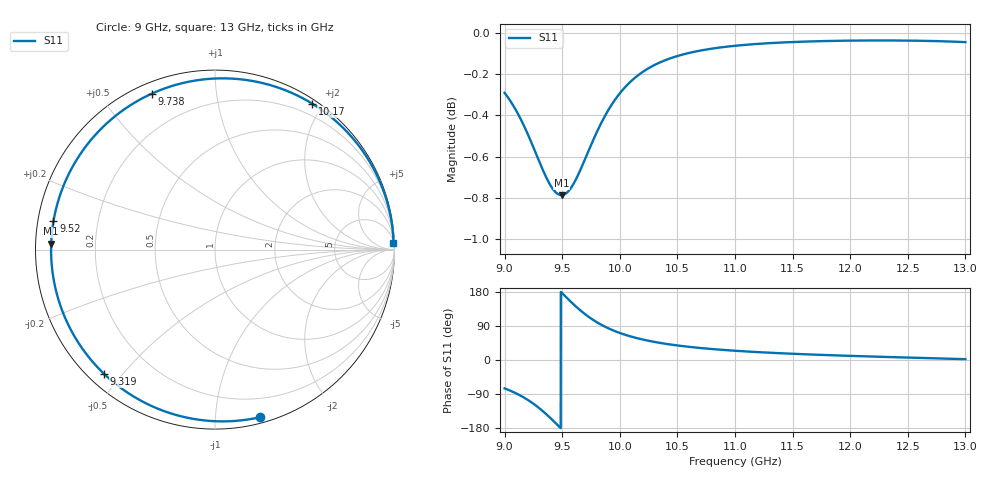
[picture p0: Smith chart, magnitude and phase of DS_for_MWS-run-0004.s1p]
! TOUCHSTONE file generated by CST DESIGN STUDIO
! Date and time: Tue Feb  4 13:32:31 2025
! Project name: C:\Work\MatlabApps\UnitCellOptimizationMatlab\CST\unitcell.cst
! Tree item: Tasks\Sweep1\SPara1\S-Parameters
! Header version: 2024
! Port assignment regex: !\s*Touchstone port\s*([0-9]+)\s*=\s*(CST MWS port|CST DES external port|CST DES block port)\s*(.+)\s* \(\"(.*)\"\)(\s*mode\s*([0-9]+))?.*
! Touchstone port assignment:
! Touchstone port 1 = CST DES external port 1 ("")
# GHz S MA R 50
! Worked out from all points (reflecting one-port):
!   4001 points, 9 GHz to 13 GHz, reference 50 ohm
!   lowest |S11| = -0.8 dB at 9.494 GHz (marker M1), VSWR 22.07, Z = 2.27 + j0.896 ohm
!   phase of S11 starts at -75 deg and turns -283 deg over the sweep
!   S11 on the Smith chart (normalised r, x): 9 GHz: 0.05, -1.30; 9.319 GHz: 0.04, -0.45; 9.52 GHz: 0.05, +0.09; 9.738 GHz: 0.05, +0.67; 10.17 GHz: 0.05, +1.87; 13 GHz: 7, +52
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9  0.9671 -74.9
9.083  0.9594 -85.6
9.183  0.9475 -101.9
9.254  0.9375 -116.2
9.319  0.9281 -131.7
9.365  0.922 -143.9
9.414  0.9169 -157.9
9.455  0.9142 -170.2
9.494  0.9133 177.9
9.5  0.9133 176.1
9.52  0.9137 170.0
9.573  0.9168 154.2
9.633  0.9231 137.4
9.685  0.9301 124.1
9.738  0.9376 112.1
9.791  0.9449 101.5
9.85  0.9523 91.3
9.924  0.9602 80.5
10  0.9669 71.3
10.168  0.9771 56.2
10.319  0.9829 46.7
10.5  0.9873 38.4
10.722  0.9905 31.0
11  0.9929 24.4
11.5  0.995 16.4
12  0.9958 10.9
12.5  0.9958 6.4
13  0.995 2.2
